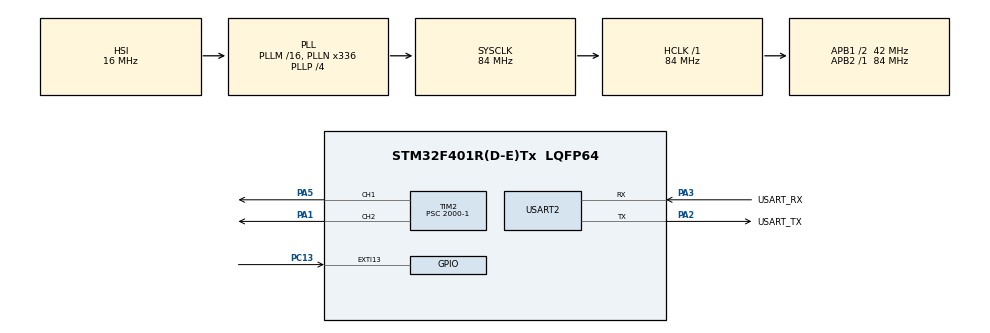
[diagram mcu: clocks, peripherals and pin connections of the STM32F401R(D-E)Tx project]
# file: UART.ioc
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FREERTOS.Tasks01=defaultTask,0,128,StartDefaultTask,Default,NULL
Mcu.Family=STM32F4
Mcu.Name=STM32F401R(D-E)Tx
Mcu.Package=LQFP64
NVIC.EXTI15_10_IRQn=true\:5\:0\:false\:false\:true\:true\:true
NVIC.PriorityGroup=NVIC_PRIORITYGROUP_4
NVIC.TIM1_UP_TIM10_IRQn=true\:0\:0\:false\:false\:true\:false\:false
NVIC.TIM2_IRQn=true\:5\:0\:false\:false\:true\:true\:true
NVIC.TimeBase=TIM1_UP_TIM10_IRQn
NVIC.TimeBaseIP=TIM1
PA1.Signal=S_TIM2_CH2
PA13.GPIO_Label=TMS
PA13.Mode=Serial_Wire
PA13.Signal=SYS_JTMS-SWDIO
PA14.GPIO_Label=TCK
PA14.Mode=Serial_Wire
PA14.Signal=SYS_JTCK-SWCLK
PA2.GPIO_Label=USART_TX
PA2.GPIO_Mode=GPIO_MODE_AF_PP
PA2.GPIO_PuPd=GPIO_NOPULL
PA2.GPIO_Speed=GPIO_SPEED_FREQ_LOW
PA2.Mode=Asynchronous
PA2.Signal=USART2_TX
PA3.GPIO_Label=USART_RX
PA3.GPIO_Mode=GPIO_MODE_AF_PP
PA3.GPIO_PuPd=GPIO_NOPULL
PA3.GPIO_Speed=GPIO_SPEED_FREQ_LOW
PA3.Mode=Asynchronous
PA3.Signal=USART2_RX
PA5.Signal=S_TIM2_CH1_ETR
PB3.GPIO_Label=SWO
PB3.Signal=SYS_JTDO-SWO
PC13-ANTI_TAMP.GPIO_ModeDefaultEXTI=GPIO_MODE_IT_RISING
PC13-ANTI_TAMP.Signal=GPXTI13
PC14-OSC32_IN.Mode=LSE-External-Oscillator
PC14-OSC32_IN.Signal=RCC_OSC32_IN
PC15-OSC32_OUT.Mode=LSE-External-Oscillator
PC15-OSC32_OUT.Signal=RCC_OSC32_OUT
ProjectManager.HeapSize=0x200
ProjectManager.StackSize=0x400
ProjectManager.TargetToolchain=MDK-ARM V5
RCC.48MHZClocksFreq_Value=48000000
RCC.AHBFreq_Value=84000000
RCC.APB1CLKDivider=RCC_HCLK_DIV2
RCC.APB1Freq_Value=42000000
RCC.APB1TimFreq_Value=84000000
RCC.APB2Freq_Value=84000000
RCC.APB2TimFreq_Value=84000000
RCC.CortexFreq_Value=84000000
RCC.HCLKFreq_Value=84000000
RCC.HSE_VALUE=8000000
RCC.HSI_VALUE=16000000
RCC.PLLN=336
RCC.PLLP=RCC_PLLP_DIV4
RCC.PLLQ=7
RCC.SYSCLKFreq_VALUE=84000000
RCC.SYSCLKSource=RCC_SYSCLKSOURCE_PLLCLK
RCC.VCOOutputFreq_Value=336000000
SH.S_TIM2_CH1_ETR.0=TIM2_CH1,PWM Generation1 CH1
SH.S_TIM2_CH2.0=TIM2_CH2,Output Compare2 CH2
TIM2.Channel-Output\ Compare2\ CH2=TIM_CHANNEL_2
TIM2.Channel-PWM\ Generation1\ CH1=TIM_CHANNEL_1
TIM2.Period=42000-1
TIM2.Prescaler=2000-1
TIM2.Pulse-PWM\ Generation1\ CH1=21000-1
USART2.VirtualMode=VM_ASYNC
VP_FREERTOS_VS_ENABLE.Mode=Enabled
VP_SYS_VS_tim1.Mode=TIM1
board=NUCLEO-F401RE

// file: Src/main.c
/* USER CODE BEGIN Header */
/**
  ******************************************************************************
  * @file           : main.c
  * @brief          : Main program body
  ******************************************************************************
  ** This notice applies to any and all portions of this file
  * that are not between comment pairs USER CODE BEGIN and
  * USER CODE END. Other portions of this file, whether
  * inserted by the user or by software development tools
  * are owned by their respective copyright owners.
  *
  * COPYRIGHT(c) 2019 STMicroelectronics
  *
  * Redistribution and use in source and binary forms, with or without modification,
  * are permitted provided that the following conditions are met:
  *   1. Redistributions of source code must retain the above copyright notice,
  *      this list of conditions and the following disclaimer.
  *   2. Redistributions in binary form must reproduce the above copyright notice,
  *      this list of conditions and the following disclaimer in the documentation
  *      and/or other materials provided with the distribution.
  *   3. Neither the name of STMicroelectronics nor the names of its contributors
  *      may be used to endorse or promote products derived from this software
  *      without specific prior written permission.
  *
  * THIS SOFTWARE IS PROVIDED BY THE COPYRIGHT HOLDERS AND CONTRIBUTORS "AS IS"
  * AND ANY EXPRESS OR IMPLIED WARRANTIES, INCLUDING, BUT NOT LIMITED TO, THE
  * IMPLIED WARRANTIES OF MERCHANTABILITY AND FITNESS FOR A PARTICULAR PURPOSE ARE
  * DISCLAIMED. IN NO EVENT SHALL THE COPYRIGHT HOLDER OR CONTRIBUTORS BE LIABLE
  * FOR ANY DIRECT, INDIRECT, INCIDENTAL, SPECIAL, EXEMPLARY, OR CONSEQUENTIAL
  * DAMAGES (INCLUDING, BUT NOT LIMITED TO, PROCUREMENT OF SUBSTITUTE GOODS OR
  * SERVICES; LOSS OF USE, DATA, OR PROFITS; OR BUSINESS INTERRUPTION) HOWEVER
  * CAUSED AND ON ANY THEORY OF LIABILITY, WHETHER IN CONTRACT, STRICT LIABILITY,
  * OR TORT (INCLUDING NEGLIGENCE OR OTHERWISE) ARISING IN ANY WAY OUT OF THE USE
  * OF THIS SOFTWARE, EVEN IF ADVISED OF THE POSSIBILITY OF SUCH DAMAGE.
  *
  ******************************************************************************
  */
/* USER CODE END Header */

#include "main.h"
#include "cmsis_os.h"

/* USER CODE BEGIN Includes */
#include "stdio.h"
#include "string.h"
/* USER CODE END Includes */

TIM_HandleTypeDef htim2;

UART_HandleTypeDef huart2;

osThreadId defaultTaskHandle;

void SystemClock_Config(void);
static void MX_GPIO_Init(void);
static void MX_USART2_UART_Init(void);
static void MX_TIM2_Init(void);
void StartDefaultTask(void const * argument);

/* USER CODE BEGIN PFP */
void HAL_GPIO_EXTI_Callback(uint16_t GPIO_Pin);
void HAL_TIM_OC_DelayElapsedCallback(TIM_HandleTypeDef *htim);

/* USER CODE END PFP */

int main(void)
{
  /* USER CODE BEGIN 1 */
	char intro_sentence[] = {"\r\n** UART EXAMPLE **\r\n"};
  /* USER CODE END 1 */

  /* MCU Configuration--------------------------------------------------------*/

  /* Reset of all peripherals, Initializes the Flash interface and the Systick. */
  HAL_Init();

  /* Configure the system clock */
  SystemClock_Config();

  /* Initialize all configured peripherals */
  MX_GPIO_Init();
  MX_USART2_UART_Init();
  MX_TIM2_Init();
  /* USER CODE BEGIN 2 */

	HAL_UART_Transmit(&huart2, (uint8_t*) intro_sentence, strlen(intro_sentence), 10);
	HAL_TIM_PWM_Start(&htim2, TIM_CHANNEL_1);
	HAL_TIM_OC_Start_IT(&htim2, TIM_CHANNEL_2);

  /* USER CODE END 2 */

  /* Create the thread(s) */
  /* definition and creation of defaultTask */
  osThreadDef(defaultTask, StartDefaultTask, osPriorityNormal, 0, 128);
  defaultTaskHandle = osThreadCreate(osThread(defaultTask), NULL);

  /* Start scheduler */
  osKernelStart();

  /* We should never get here as control is now taken by the scheduler */

  /* Infinite loop */
  while (1)
  {

  }
}

void SystemClock_Config(void)
{
  RCC_OscInitTypeDef RCC_OscInitStruct = {0};
  RCC_ClkInitTypeDef RCC_ClkInitStruct = {0};

  /**Configure the main internal regulator output voltage
  */
  __HAL_RCC_PWR_CLK_ENABLE();
  __HAL_PWR_VOLTAGESCALING_CONFIG(PWR_REGULATOR_VOLTAGE_SCALE2);
  /**Initializes the CPU, AHB and APB busses clocks
  */
  RCC_OscInitStruct.OscillatorType = RCC_OSCILLATORTYPE_HSI;
  RCC_OscInitStruct.HSIState = RCC_HSI_ON;
  RCC_OscInitStruct.HSICalibrationValue = RCC_HSICALIBRATION_DEFAULT;
  RCC_OscInitStruct.PLL.PLLState = RCC_PLL_ON;
  RCC_OscInitStruct.PLL.PLLSource = RCC_PLLSOURCE_HSI;
  RCC_OscInitStruct.PLL.PLLM = 16;
  RCC_OscInitStruct.PLL.PLLN = 336;
  RCC_OscInitStruct.PLL.PLLP = RCC_PLLP_DIV4;
  RCC_OscInitStruct.PLL.PLLQ = 7;
  if (HAL_RCC_OscConfig(&RCC_OscInitStruct) != HAL_OK)
  {
    Error_Handler();
  }
  /**Initializes the CPU, AHB and APB busses clocks
  */
  RCC_ClkInitStruct.ClockType = RCC_CLOCKTYPE_HCLK|RCC_CLOCKTYPE_SYSCLK
                              |RCC_CLOCKTYPE_PCLK1|RCC_CLOCKTYPE_PCLK2;
  RCC_ClkInitStruct.SYSCLKSource = RCC_SYSCLKSOURCE_PLLCLK;
  RCC_ClkInitStruct.AHBCLKDivider = RCC_SYSCLK_DIV1;
  RCC_ClkInitStruct.APB1CLKDivider = RCC_HCLK_DIV2;
  RCC_ClkInitStruct.APB2CLKDivider = RCC_HCLK_DIV1;

  if (HAL_RCC_ClockConfig(&RCC_ClkInitStruct, FLASH_LATENCY_2) != HAL_OK)
  {
    Error_Handler();
  }
}

static void MX_TIM2_Init(void)
{

  TIM_MasterConfigTypeDef sMasterConfig = {0};
  TIM_OC_InitTypeDef sConfigOC = {0};

  htim2.Instance = TIM2;
  htim2.Init.Prescaler = 2000-1;
  htim2.Init.CounterMode = TIM_COUNTERMODE_UP;
  htim2.Init.Period = 42000-1;
  htim2.Init.ClockDivision = TIM_CLOCKDIVISION_DIV1;
  if (HAL_TIM_PWM_Init(&htim2) != HAL_OK)
  {
    Error_Handler();
  }
  if (HAL_TIM_OC_Init(&htim2) != HAL_OK)
  {
    Error_Handler();
  }
  sMasterConfig.MasterOutputTrigger = TIM_TRGO_RESET;
  sMasterConfig.MasterSlaveMode = TIM_MASTERSLAVEMODE_DISABLE;
  if (HAL_TIMEx_MasterConfigSynchronization(&htim2, &sMasterConfig) != HAL_OK)
  {
    Error_Handler();
  }
  sConfigOC.OCMode = TIM_OCMODE_PWM1;
  sConfigOC.Pulse = 21000-1;
  sConfigOC.OCPolarity = TIM_OCPOLARITY_HIGH;
  sConfigOC.OCFastMode = TIM_OCFAST_DISABLE;
  if (HAL_TIM_PWM_ConfigChannel(&htim2, &sConfigOC, TIM_CHANNEL_1) != HAL_OK)
  {
    Error_Handler();
  }
  sConfigOC.OCMode = TIM_OCMODE_TIMING;
  sConfigOC.Pulse = 21000-1;
  if (HAL_TIM_OC_ConfigChannel(&htim2, &sConfigOC, TIM_CHANNEL_2) != HAL_OK)
  {
    Error_Handler();
  }
  HAL_TIM_MspPostInit(&htim2);

}

static void MX_USART2_UART_Init(void)
{

  huart2.Instance = USART2;
  huart2.Init.BaudRate = 115200;
  huart2.Init.WordLength = UART_WORDLENGTH_8B;
  huart2.Init.StopBits = UART_STOPBITS_1;
  huart2.Init.Parity = UART_PARITY_NONE;
  huart2.Init.Mode = UART_MODE_TX_RX;
  huart2.Init.HwFlowCtl = UART_HWCONTROL_NONE;
  huart2.Init.OverSampling = UART_OVERSAMPLING_16;
  if (HAL_UART_Init(&huart2) != HAL_OK)
  {
    Error_Handler();
  }

}

static void MX_GPIO_Init(void)
{
  GPIO_InitTypeDef GPIO_InitStruct = {0};

  /* GPIO Ports Clock Enable */
  __HAL_RCC_GPIOC_CLK_ENABLE();
  __HAL_RCC_GPIOA_CLK_ENABLE();
  __HAL_RCC_GPIOB_CLK_ENABLE();

  /*Configure GPIO pin : PC13 */
  GPIO_InitStruct.Pin = GPIO_PIN_13;
  GPIO_InitStruct.Mode = GPIO_MODE_IT_RISING;
  GPIO_InitStruct.Pull = GPIO_NOPULL;
  HAL_GPIO_Init(GPIOC, &GPIO_InitStruct);

  /* EXTI interrupt init*/
  HAL_NVIC_SetPriority(EXTI15_10_IRQn, 5, 0);
  HAL_NVIC_EnableIRQ(EXTI15_10_IRQn);

}

/* USER CODE BEGIN 4 */
void HAL_GPIO_EXTI_Callback(uint16_t GPIO_Pin) {
	// Send message on UART if we press the push button
	if (GPIO_Pin == GPIO_PIN_13) {
		char message[] = {"Button pressed\r\n"};
		HAL_UART_Transmit(&huart2, (uint8_t *) message, strlen(message), 10);
	}
}

// This is the ISR code generated by TIM2 OC -- Every 1 sec
void HAL_TIM_OC_DelayElapsedCallback(TIM_HandleTypeDef *htim) {
	if (htim->Instance == TIM2) {
		// Set up the variables that we want to send over UART
		char name[7] = {"Davide\t"};
		uint32_t year = 1993;
		char year_string[4];
		// Don't know why
		//    char newline[2] = "\r\n";
		// is not working
		char newline[2];
		newline[0] = '\r';
		newline[1] = '\n';
		// Convert year number to string
		sprintf(year_string, "%04u", year);
		// Send them all over UART2
		HAL_UART_Transmit(&huart2, (uint8_t *) name, strlen(name), 10);
		HAL_UART_Transmit(&huart2, (uint8_t *) year_string, strlen(year_string), 10);
		HAL_UART_Transmit(&huart2, (uint8_t *) newline, strlen(newline), 10);
	}
}
/* USER CODE END 4 */

void StartDefaultTask(void const * argument)
{

  for(;;)
  {
    osDelay(1);
  }
}

void HAL_TIM_PeriodElapsedCallback(TIM_HandleTypeDef *htim)
{
  if (htim->Instance == TIM1) {
    HAL_IncTick();
  }
}

void Error_Handler(void)
{
}

/************************ (C) COPYRIGHT STMicroelectronics *****END OF FILE****/
